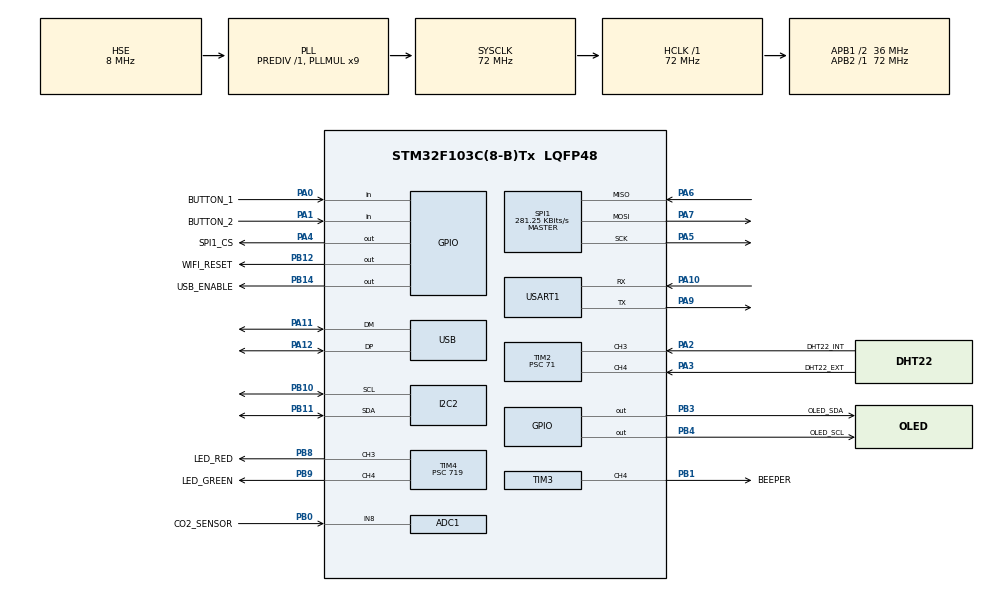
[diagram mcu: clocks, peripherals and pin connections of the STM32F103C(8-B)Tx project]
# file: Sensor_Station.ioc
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ADC1.Channel-5\#ChannelRegularConversion=ADC_CHANNEL_8
ADC1.ContinuousConvMode=DISABLE
ADC1.DataAlign=ADC_DATAALIGN_RIGHT
ADC1.DiscontinuousConvMode=DISABLE
ADC1.EnableAnalogWatchDog=false
ADC1.EnableRegularConversion=ENABLE
ADC1.ExternalTrigConvEdgeChoice=NONE
ADC1.InjNumberOfConversion=0
ADC1.NbrOfConversion=1
ADC1.NbrOfConversionFlag=1
ADC1.Rank-5\#ChannelRegularConversion=1
ADC1.SamplingTime-5\#ChannelRegularConversion=ADC_SAMPLETIME_1CYCLE_5
ADC1.ScanConvMode=ADC_SCAN_DISABLE
ADC1.master=1
Dma.Request0=TIM2_CH3
Dma.Request1=TIM2_CH2/CH4
Dma.TIM2_CH2/CH4.1.Direction=DMA_PERIPH_TO_MEMORY
Dma.TIM2_CH2/CH4.1.Instance=DMA1_Channel7
Dma.TIM2_CH2/CH4.1.MemDataAlignment=DMA_MDATAALIGN_HALFWORD
Dma.TIM2_CH2/CH4.1.MemInc=DMA_MINC_ENABLE
Dma.TIM2_CH2/CH4.1.Mode=DMA_NORMAL
Dma.TIM2_CH2/CH4.1.PeriphDataAlignment=DMA_PDATAALIGN_HALFWORD
Dma.TIM2_CH2/CH4.1.PeriphInc=DMA_PINC_DISABLE
Dma.TIM2_CH2/CH4.1.Priority=DMA_PRIORITY_LOW
Dma.TIM2_CH3.0.Direction=DMA_PERIPH_TO_MEMORY
Dma.TIM2_CH3.0.Instance=DMA1_Channel1
Dma.TIM2_CH3.0.MemDataAlignment=DMA_MDATAALIGN_HALFWORD
Dma.TIM2_CH3.0.MemInc=DMA_MINC_ENABLE
Dma.TIM2_CH3.0.Mode=DMA_NORMAL
Dma.TIM2_CH3.0.PeriphDataAlignment=DMA_PDATAALIGN_HALFWORD
Dma.TIM2_CH3.0.PeriphInc=DMA_PINC_DISABLE
Dma.TIM2_CH3.0.Priority=DMA_PRIORITY_LOW
Mcu.Family=STM32F1
Mcu.Name=STM32F103C(8-B)Tx
Mcu.Package=LQFP48
NVIC.DMA1_Channel1_IRQn=true\:0\:0\:false\:false\:true
NVIC.DMA1_Channel7_IRQn=true\:0\:0\:false\:false\:true
NVIC.PriorityGroup=NVIC_PRIORITYGROUP_4
NVIC.RTC_IRQn=true\:0\:0\:false\:false\:true
NVIC.USART1_IRQn=true\:0\:0\:false\:false\:true
NVIC.USB_LP_CAN1_RX0_IRQn=true\:0\:0\:false\:false\:true
PA0-WKUP.GPIO_Label=BUTTON_1
PA0-WKUP.GPIO_PuPd=GPIO_PULLUP
PA0-WKUP.Signal=GPIO_Input
PA1.GPIO_Label=BUTTON_2
PA1.GPIO_PuPd=GPIO_PULLUP
PA1.Signal=GPIO_Input
PA10.Mode=Asynchronous
PA10.Signal=USART1_RX
PA11.Mode=Device
PA11.Signal=USB_DM
PA12.Mode=Device
PA12.Signal=USB_DP
PA13.Mode=Serial_Wire
PA13.Signal=SYS_JTMS-SWDIO
PA14.Mode=Serial_Wire
PA14.Signal=SYS_JTCK-SWCLK
PA2.GPIO_Label=DHT22_INT
PA2.Signal=S_TIM2_CH3
PA3.GPIO_Label=DHT22_EXT
PA3.Signal=S_TIM2_CH4
PA4.GPIO_Label=SPI1_CS
PA4.Signal=GPIO_Output
PA5.Mode=Full_Duplex_Master
PA5.Signal=SPI1_SCK
PA6.Mode=Full_Duplex_Master
PA6.Signal=SPI1_MISO
PA7.Mode=Full_Duplex_Master
PA7.Signal=SPI1_MOSI
PA9.Mode=Asynchronous
PA9.Signal=USART1_TX
PB0.GPIO_Label=CO2_SENSOR
PB0.Signal=ADCx_IN8
PB1.GPIO_Label=BEEPER
PB1.Signal=S_TIM3_CH4
PB10.Mode=I2C
PB10.Signal=I2C2_SCL
PB11.Mode=I2C
PB11.Signal=I2C2_SDA
PB12.GPIO_Label=WIFI_RESET
PB12.Signal=GPIO_Output
PB14.GPIO_Label=USB_ENABLE
PB14.Signal=GPIO_Output
PB3.GPIO_Label=OLED_SDA
PB3.Signal=GPIO_Output
PB4.GPIO_Label=OLED_SCL
PB4.Signal=GPIO_Output
PB8.GPIO_Label=LED_RED
PB8.Signal=S_TIM4_CH3
PB9.GPIO_Label=LED_GREEN
PB9.Signal=S_TIM4_CH4
PC14-OSC32_IN.Mode=LSE-External-Oscillator
PC14-OSC32_IN.Signal=RCC_OSC32_IN
PC15-OSC32_OUT.Mode=LSE-External-Oscillator
PC15-OSC32_OUT.Signal=RCC_OSC32_OUT
PD0-OSC_IN.Mode=HSE-External-Oscillator
PD0-OSC_IN.Signal=RCC_OSC_IN
PD1-OSC_OUT.Mode=HSE-External-Oscillator
PD1-OSC_OUT.Signal=RCC_OSC_OUT
ProjectManager.HeapSize=0x1000
ProjectManager.StackSize=0x1000
ProjectManager.TargetToolchain=SW4STM32
RCC.ADCPresc=RCC_ADCPCLK2_DIV6
RCC.AHBFreq_Value=72000000
RCC.APB1CLKDivider=RCC_HCLK_DIV2
RCC.APB1Freq_Value=36000000
RCC.APB1TimFreq_Value=72000000
RCC.APB2Freq_Value=72000000
RCC.APB2TimFreq_Value=72000000
RCC.HCLKFreq_Value=72000000
RCC.PLLMUL=RCC_PLL_MUL9
RCC.PLLSourceVirtual=RCC_PLLSOURCE_HSE
RCC.RTCClockSelection=RCC_RTCCLKSOURCE_LSE
RCC.SYSCLKFreq_VALUE=72000000
RCC.SYSCLKSource=RCC_SYSCLKSOURCE_PLLCLK
RCC.USBFreq_Value=48000000
RCC.USBPrescaler=RCC_USBCLKSOURCE_PLL_DIV1_5
RTC.Format=RTC_FORMAT_BIN
RTC.Year=0
SH.ADCx_IN8.0=ADC1_IN8,IN8
SH.S_TIM2_CH3.0=TIM2_CH3,Input_Capture3_from_TI3
SH.S_TIM2_CH4.0=TIM2_CH4,Input_Capture4_from_TI4
SH.S_TIM3_CH4.0=TIM3_CH4,PWM Generation4 CH4
SH.S_TIM4_CH3.0=TIM4_CH3,PWM Generation3 CH3
SH.S_TIM4_CH4.0=TIM4_CH4,PWM Generation4 CH4
SPI1.BaudRatePrescaler=SPI_BAUDRATEPRESCALER_256
SPI1.CalculateBaudRate=281.25 KBits/s
SPI1.Direction=SPI_DIRECTION_2LINES
SPI1.Mode=SPI_MODE_MASTER
SPI1.VirtualType=VM_MASTER
TIM2.Channel-Input_Capture3_from_TI3=TIM_CHANNEL_3
TIM2.Channel-Input_Capture4_from_TI4=TIM_CHANNEL_4
TIM2.Period=0xFFFF
TIM2.Prescaler=71
TIM3.Channel-PWM\ Generation4\ CH4=TIM_CHANNEL_4
TIM3.Period=1000
TIM3.Prescaler=71
TIM3.Pulse-PWM\ Generation4\ CH4=200
TIM4.Channel-PWM\ Generation3\ CH3=TIM_CHANNEL_3
TIM4.Channel-PWM\ Generation4\ CH4=TIM_CHANNEL_4
TIM4.Period=99
TIM4.Prescaler=719
TIM4.TIM_MasterOutputTrigger=TIM_TRGO_RESET
USART1.VirtualMode=VM_ASYNC
USB_DEVICE.CLASS_NAME_FS=MSC
USB_DEVICE.MANUFACTURER_STRING=A.S. Tech
USB_DEVICE.PID_MSC_FS=0x572a
USB_DEVICE.PRODUCT_STRING_MSC_FS=Weather Station
USB_DEVICE.SERIALNUMBER_STRING_MSC_FS=00000000001E
USB_DEVICE.VirtualMode=Msc
USB_DEVICE.VirtualModeFS=Msc_FS
VP_CRC_VS_CRC.Mode=CRC_Activate
VP_FATFS_VS_Generic.Mode=User_defined
VP_RTC_VS_RTC_Activate.Mode=RTC_Enabled
VP_RTC_VS_RTC_Calendar.Mode=RTC_Calendar
VP_TIM2_VS_ClockSourceINT.Mode=Internal
VP_TIM4_VS_ClockSourceINT.Mode=Internal
VP_USB_DEVICE_VS_USB_DEVICE_MSC_FS.Mode=MSC_FS
board=Sensor_Station

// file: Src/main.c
/**
  ******************************************************************************
  * File Name          : main.c
  * Description        : Main program body
  ******************************************************************************
  * This notice applies to any and all portions of this file
  * that are not between comment pairs USER CODE BEGIN and
  * USER CODE END. Other portions of this file, whether
  * inserted by the user or by software development tools
  * are owned by their respective copyright owners.
  *
  * Copyright (c) 2017 STMicroelectronics International N.V.
  * All rights reserved.
  *
  * Redistribution and use in source and binary forms, with or without
  * modification, are permitted, provided that the following conditions are met:
  *
  * 1. Redistribution of source code must retain the above copyright notice,
  *    this list of conditions and the following disclaimer.
  * 2. Redistributions in binary form must reproduce the above copyright notice,
  *    this list of conditions and the following disclaimer in the documentation
  *    and/or other materials provided with the distribution.
  * 3. Neither the name of STMicroelectronics nor the names of other
  *    contributors to this software may be used to endorse or promote products
  *    derived from this software without specific written permission.
  * 4. This software, including modifications and/or derivative works of this
  *    software, must execute solely and exclusively on microcontroller or
  *    microprocessor devices manufactured by or for STMicroelectronics.
  * 5. Redistribution and use of this software other than as permitted under
  *    this license is void and will automatically terminate your rights under
  *    this license.
  *
  * THIS SOFTWARE IS PROVIDED BY STMICROELECTRONICS AND CONTRIBUTORS "AS IS"
  * AND ANY EXPRESS, IMPLIED OR STATUTORY WARRANTIES, INCLUDING, BUT NOT
  * LIMITED TO, THE IMPLIED WARRANTIES OF MERCHANTABILITY, FITNESS FOR A
  * PARTICULAR PURPOSE AND NON-INFRINGEMENT OF THIRD PARTY INTELLECTUAL PROPERTY
  * RIGHTS ARE DISCLAIMED TO THE FULLEST EXTENT PERMITTED BY LAW. IN NO EVENT
  * SHALL STMICROELECTRONICS OR CONTRIBUTORS BE LIABLE FOR ANY DIRECT, INDIRECT,
  * INCIDENTAL, SPECIAL, EXEMPLARY, OR CONSEQUENTIAL DAMAGES (INCLUDING, BUT NOT
  * LIMITED TO, PROCUREMENT OF SUBSTITUTE GOODS OR SERVICES; LOSS OF USE, DATA,
  * OR PROFITS; OR BUSINESS INTERRUPTION) HOWEVER CAUSED AND ON ANY THEORY OF
  * LIABILITY, WHETHER IN CONTRACT, STRICT LIABILITY, OR TORT (INCLUDING
  * NEGLIGENCE OR OTHERWISE) ARISING IN ANY WAY OUT OF THE USE OF THIS SOFTWARE,
  * EVEN IF ADVISED OF THE POSSIBILITY OF SUCH DAMAGE.
  *
  ******************************************************************************
  */
#include "main.h"
#include "stm32f1xx_hal.h"
#include "fatfs.h"
#include "usb_device.h"

/* USER CODE BEGIN Includes */
#include "includes.h"

/* USER CODE END Includes */

ADC_HandleTypeDef hadc1;

CRC_HandleTypeDef hcrc;

I2C_HandleTypeDef hi2c2;

RTC_HandleTypeDef hrtc;

SPI_HandleTypeDef hspi1;

TIM_HandleTypeDef htim2;
TIM_HandleTypeDef htim3;
TIM_HandleTypeDef htim4;
DMA_HandleTypeDef hdma_tim2_ch3;
DMA_HandleTypeDef hdma_tim2_ch2_ch4;

UART_HandleTypeDef huart1;

/* USER CODE BEGIN PV */
/* Private variables ---------------------------------------------------------*/

RTC_TimeTypeDef s_time;
RTC_DateTypeDef s_date;
RTC_TimeTypeDef rtc_time;
RTC_DateTypeDef rtc_date;

static FATFS fs;

/* USER CODE END PV */

void SystemClock_Config(void);
static void MX_GPIO_Init(void);
static void MX_DMA_Init(void);
static void MX_RTC_Init(void);
static void MX_USART1_UART_Init(void);
static void MX_SPI1_Init(void);
static void MX_I2C2_Init(void);
static void MX_ADC1_Init(void);
static void MX_TIM4_Init(void);
static void MX_TIM3_Init(void);
static void MX_TIM2_Init(void);
static void MX_CRC_Init(void);

void HAL_TIM_MspPostInit(TIM_HandleTypeDef *htim);

/* USER CODE BEGIN PFP */
/* Private function prototypes -----------------------------------------------*/

/* USER CODE END PFP */

/* USER CODE BEGIN 0 */

void Pause(void) {
	//HAL_Delay(100);
	//Console_Clear();
	//return;

	if (console_mode) {
		while (!Button(1)) {
			HAL_Delay(100);
		}
		Console_Clear();
	}
}

network_settings_t settings;
network_settings_t settings_new;
/* USER CODE END 0 */

int main(void)
{

  /* USER CODE BEGIN 1 */
	uint8_t res;
	uint8_t sd_card_availible = 0;
	uint8_t fs_availible = 0;
	uint8_t settings_exist = 0;
	uint8_t wifi_connected = 0;
	uint8_t time_synchonized = 0;
	uint8_t settings_file_loaded = 0;
	int file_counter = 0;

  /* USER CODE END 1 */

  /* MCU Configuration----------------------------------------------------------*/

  /* Reset of all peripherals, Initializes the Flash interface and the Systick. */
  HAL_Init();

  /* Configure the system clock */
  SystemClock_Config();

  /* Initialize all configured peripherals */
  MX_GPIO_Init();
  MX_DMA_Init();
  MX_RTC_Init();
  MX_USART1_UART_Init();
  MX_SPI1_Init();
  MX_I2C2_Init();
  MX_ADC1_Init();
  MX_TIM4_Init();
  MX_TIM3_Init();
  MX_TIM2_Init();
  MX_FATFS_Init();
  MX_CRC_Init();
  MX_USB_DEVICE_Init();

  /* USER CODE BEGIN 2 */

  Display_Init();
	Time_Start_Interrupts();

	console_mode = 1;

// FILE OPERATIONS

	res = SD_Init();
	if (!res) {
		printf("SD card OK \n");
		sd_card_availible = 1;
	} else {
		printf("SD card not found \n");
		sd_card_availible = 0;
	}

	if (sd_card_availible) {
		res = f_mount(&fs, USER_Path, 1);
		if (!res) {
			printf("FS mount OK \n");
			fs_availible = 1;
		} else {
			printf("FS error: %d \n", res);
			fs_availible = 1;
		}
	}

	Pause();

	if (fs_availible) {
		res = Settings_Load_from_File(&settings_new);
		if (!res) {
			settings_file_loaded = 1;
			printf("   %s: \n", SETTINGS_FILENAME);
			Settings_Display(&settings_new);
		} else {
			settings_file_loaded = 0;
			printf("\"%s\" error %d \n", SETTINGS_FILENAME, res);
		}
		Pause();
	}

	res = Settings_Load_from_Flash(&settings);
	if (!res) {
		printf("   Internal flash: \n");
		Settings_Display(&settings);
	} else {
		printf("Flash memory error \n");
	}

	Pause();

	if (settings_file_loaded) {
		res = Settings_Synchronize(&settings, &settings_new);
		if (res) {
			Settings_Save_to_Flash(&settings);
			printf("Settings updated \n");
		} else {
			printf("Nothing to update \n");
		}
		Pause();
	}

	printf("Settings loaded \n");

	Pause();

// WIFI CONNECTION

	settings_exist = 1;

	if (settings_exist) {
		WiFi_Init();
		printf("Connecting to WiFi... \n");
		res = WiFi_Connect_to_AP(settings.ssid, settings.password);
		if (!res) {
			printf("Successful \n");
			wifi_connected = 1;
		} else {
			printf("Error \n");
		}

		if (wifi_connected) {
			printf("Synchronizing time... \n");
			res = WiFi_Synchronize_Time(settings.server, &s_time, &s_date);
			if (!res) {
				time_synchonized = 1;
				HAL_RTC_SetDate(&hrtc, &s_date, RTC_FORMAT_BIN);
				HAL_RTC_SetTime(&hrtc, &s_time, RTC_FORMAT_BIN);
				HAL_RTCEx_BKUPWrite(&hrtc,RTC_BKP_DR1,0x32F2);
				printf("Successful \n");
			} else {
				time_synchonized = 0;
				printf("Error \n");
			}
		}
	}

	console_mode = 1;
	printf("Time: %d \n", time_synchonized);

	//file_counter = Files_Find_First_Availible();
	Pause();
	HAL_GPIO_WritePin(USB_ENABLE_GPIO_Port, USB_ENABLE_Pin, GPIO_PIN_SET);
	printf("USB mass storage... \n");

	Pause();
	printf("Reset... \n");
	HAL_Delay(1000);
	NVIC_SystemReset();

	while (1) {};

	File_Start();
	File_Write_Line("123\n\r456\n\r");
	File_Stop();

  while(1) {
  	Time_Poll_Interrupts();
  	HAL_RTC_GetTime( &hrtc, &rtc_time, RTC_FORMAT_BIN );
  	HAL_RTC_GetDate( &hrtc, &rtc_date, RTC_FORMAT_BIN );

  	printf("%02d:%02d:%02d ", rtc_time.Hours, rtc_time.Minutes, rtc_time.Seconds);
  	printf("%d/%d/%d \n", rtc_date.Date, rtc_date.Month, rtc_date.Year);
  }

	res = f_mount(&fs, USER_Path, 0);
	if (!res) {
		printf("FS unmount OK \n");
	} else {
		printf("Cannot unmount FS \n");
	}

  //HAL_GPIO_WritePin(USB_ENABLE_GPIO_Port, USB_ENABLE_Pin, GPIO_PIN_SET);

  //printf("Mount: %d\n", f_mount(&fs, USER_Path, 1) );

//
//  uint8_t testBuffer[16] = "Successful!!!\r\n";
//  UINT testBytes;
//	FILINFO fno;
//
//	uint8_t filename[] = "log_0.txt";
//
//	for ( int i = 0; i < 10; i++ ) {
//		filename[4] = '0' + i;
//		uint8_t fr = f_stat((const char*)filename, &fno);
//		//printf("Status(%d): %d\r\n", i, fr );
//		if ( fr == FR_OK )
//			continue;
//
//		sprintf(str, "Open: %d\r\n", f_open(&testFile, (const char*)filename, FA_WRITE | FA_CREATE_NEW ) );
//	  Display_Text(str, 0, 32);
//		sprintf(str, "Write: %d\r\n", f_write(&testFile, testBuffer, 16, &testBytes) );
//	  Display_Text(str, 0, 16);
//		sprintf(str, "Close: %d\r\n", f_close(&testFile) );
//	  Display_Text(str, 0, 0);
//		break;
//	}
//
//
//	Display_Refresh();
//	sprintf(str, "Mount: %d\r\n", f_mount(&fs, USER_Path, 0) );

	/*
	while(1) {
  	if (!HAL_GPIO_ReadPin(BUTTON_1_GPIO_Port, BUTTON_1_Pin)) {
  		NVIC_SystemReset();
  	}
  }*/

  /* USER CODE END 2 */

  /* Infinite loop */
  /* USER CODE BEGIN WHILE */

//	HAL_GPIO_WritePin(USB_ENABLE_GPIO_Port, USB_ENABLE_Pin, GPIO_PIN_SET);

  //while(1) {};

  int temp[2], hum[2], emf, press;
  int cnt = 0;

  while (1)
  {

  	DHT22_Conversion(0, &temp[0], &hum[0]);
  	printf("%d.%1d~C  %d%% \n", temp[0]/10, temp[0]%10, hum[0]/10  );

  	//DHT22_Conversion(1, &temp[1], &hum[1]);
  	//MS5611_Conversion(&press);
  	//TGS4161_Conversion(&emf);

	  HAL_Delay(2500);

  /* USER CODE END WHILE */

  }

}

/** System Clock Configuration
*/
void SystemClock_Config(void)
{

  RCC_OscInitTypeDef RCC_OscInitStruct;
  RCC_ClkInitTypeDef RCC_ClkInitStruct;
  RCC_PeriphCLKInitTypeDef PeriphClkInit;

    /**Initializes the CPU, AHB and APB busses clocks
    */
  RCC_OscInitStruct.OscillatorType = RCC_OSCILLATORTYPE_HSE|RCC_OSCILLATORTYPE_LSE;
  RCC_OscInitStruct.HSEState = RCC_HSE_ON;
  RCC_OscInitStruct.HSEPredivValue = RCC_HSE_PREDIV_DIV1;
  RCC_OscInitStruct.LSEState = RCC_LSE_ON;
  RCC_OscInitStruct.HSIState = RCC_HSI_ON;
  RCC_OscInitStruct.PLL.PLLState = RCC_PLL_ON;
  RCC_OscInitStruct.PLL.PLLSource = RCC_PLLSOURCE_HSE;
  RCC_OscInitStruct.PLL.PLLMUL = RCC_PLL_MUL9;
  if (HAL_RCC_OscConfig(&RCC_OscInitStruct) != HAL_OK)
  {
    _Error_Handler(__FILE__, __LINE__);
  }

    /**Initializes the CPU, AHB and APB busses clocks
    */
  RCC_ClkInitStruct.ClockType = RCC_CLOCKTYPE_HCLK|RCC_CLOCKTYPE_SYSCLK
                              |RCC_CLOCKTYPE_PCLK1|RCC_CLOCKTYPE_PCLK2;
  RCC_ClkInitStruct.SYSCLKSource = RCC_SYSCLKSOURCE_PLLCLK;
  RCC_ClkInitStruct.AHBCLKDivider = RCC_SYSCLK_DIV1;
  RCC_ClkInitStruct.APB1CLKDivider = RCC_HCLK_DIV2;
  RCC_ClkInitStruct.APB2CLKDivider = RCC_HCLK_DIV1;

  if (HAL_RCC_ClockConfig(&RCC_ClkInitStruct, FLASH_LATENCY_2) != HAL_OK)
  {
    _Error_Handler(__FILE__, __LINE__);
  }

  PeriphClkInit.PeriphClockSelection = RCC_PERIPHCLK_RTC|RCC_PERIPHCLK_ADC
                              |RCC_PERIPHCLK_USB;
  PeriphClkInit.RTCClockSelection = RCC_RTCCLKSOURCE_LSE;
  PeriphClkInit.AdcClockSelection = RCC_ADCPCLK2_DIV6;
  PeriphClkInit.UsbClockSelection = RCC_USBCLKSOURCE_PLL_DIV1_5;
  if (HAL_RCCEx_PeriphCLKConfig(&PeriphClkInit) != HAL_OK)
  {
    _Error_Handler(__FILE__, __LINE__);
  }

    /**Configure the Systick interrupt time
    */
  HAL_SYSTICK_Config(HAL_RCC_GetHCLKFreq()/1000);

    /**Configure the Systick
    */
  HAL_SYSTICK_CLKSourceConfig(SYSTICK_CLKSOURCE_HCLK);

  /* SysTick_IRQn interrupt configuration */
  HAL_NVIC_SetPriority(SysTick_IRQn, 0, 0);
}

/* ADC1 init function */
static void MX_ADC1_Init(void)
{

  ADC_ChannelConfTypeDef sConfig;

    /**Common config
    */
  hadc1.Instance = ADC1;
  hadc1.Init.ScanConvMode = ADC_SCAN_DISABLE;
  hadc1.Init.ContinuousConvMode = DISABLE;
  hadc1.Init.DiscontinuousConvMode = DISABLE;
  hadc1.Init.ExternalTrigConv = ADC_SOFTWARE_START;
  hadc1.Init.DataAlign = ADC_DATAALIGN_RIGHT;
  hadc1.Init.NbrOfConversion = 1;
  if (HAL_ADC_Init(&hadc1) != HAL_OK)
  {
    _Error_Handler(__FILE__, __LINE__);
  }

    /**Configure Regular Channel
    */
  sConfig.Channel = ADC_CHANNEL_8;
  sConfig.Rank = 1;
  sConfig.SamplingTime = ADC_SAMPLETIME_1CYCLE_5;
  if (HAL_ADC_ConfigChannel(&hadc1, &sConfig) != HAL_OK)
  {
    _Error_Handler(__FILE__, __LINE__);
  }

}

/* CRC init function */
static void MX_CRC_Init(void)
{

  hcrc.Instance = CRC;
  if (HAL_CRC_Init(&hcrc) != HAL_OK)
  {
    _Error_Handler(__FILE__, __LINE__);
  }

}

/* I2C2 init function */
static void MX_I2C2_Init(void)
{

  hi2c2.Instance = I2C2;
  hi2c2.Init.ClockSpeed = 100000;
  hi2c2.Init.DutyCycle = I2C_DUTYCYCLE_2;
  hi2c2.Init.OwnAddress1 = 0;
  hi2c2.Init.AddressingMode = I2C_ADDRESSINGMODE_7BIT;
  hi2c2.Init.DualAddressMode = I2C_DUALADDRESS_DISABLE;
  hi2c2.Init.OwnAddress2 = 0;
  hi2c2.Init.GeneralCallMode = I2C_GENERALCALL_DISABLE;
  hi2c2.Init.NoStretchMode = I2C_NOSTRETCH_DISABLE;
  if (HAL_I2C_Init(&hi2c2) != HAL_OK)
  {
    _Error_Handler(__FILE__, __LINE__);
  }

}

/* RTC init function */
static void MX_RTC_Init(void)
{

  RTC_TimeTypeDef sTime;
  RTC_DateTypeDef DateToUpdate;

    /**Initialize RTC Only
    */
  hrtc.Instance = RTC;
  hrtc.Init.AsynchPrediv = RTC_AUTO_1_SECOND;
  hrtc.Init.OutPut = RTC_OUTPUTSOURCE_ALARM;
  if (HAL_RTC_Init(&hrtc) != HAL_OK)
  {
    _Error_Handler(__FILE__, __LINE__);
  }

    /**Initialize RTC and set the Time and Date
    */
  if(HAL_RTCEx_BKUPRead(&hrtc, RTC_BKP_DR1) != 0x32F2){
  sTime.Hours = 1;
  sTime.Minutes = 0;
  sTime.Seconds = 0;

  if (HAL_RTC_SetTime(&hrtc, &sTime, RTC_FORMAT_BIN) != HAL_OK)
  {
    _Error_Handler(__FILE__, __LINE__);
  }

  DateToUpdate.WeekDay = RTC_WEEKDAY_MONDAY;
  DateToUpdate.Month = RTC_MONTH_JANUARY;
  DateToUpdate.Date = 1;
  DateToUpdate.Year = 0;

  if (HAL_RTC_SetDate(&hrtc, &DateToUpdate, RTC_FORMAT_BIN) != HAL_OK)
  {
    _Error_Handler(__FILE__, __LINE__);
  }

    HAL_RTCEx_BKUPWrite(&hrtc,RTC_BKP_DR1,0x32F2);
  }

}

/* SPI1 init function */
static void MX_SPI1_Init(void)
{

  hspi1.Instance = SPI1;
  hspi1.Init.Mode = SPI_MODE_MASTER;
  hspi1.Init.Direction = SPI_DIRECTION_2LINES;
  hspi1.Init.DataSize = SPI_DATASIZE_8BIT;
  hspi1.Init.CLKPolarity = SPI_POLARITY_LOW;
  hspi1.Init.CLKPhase = SPI_PHASE_1EDGE;
  hspi1.Init.NSS = SPI_NSS_SOFT;
  hspi1.Init.BaudRatePrescaler = SPI_BAUDRATEPRESCALER_256;
  hspi1.Init.FirstBit = SPI_FIRSTBIT_MSB;
  hspi1.Init.TIMode = SPI_TIMODE_DISABLE;
  hspi1.Init.CRCCalculation = SPI_CRCCALCULATION_DISABLE;
  hspi1.Init.CRCPolynomial = 10;
  if (HAL_SPI_Init(&hspi1) != HAL_OK)
  {
    _Error_Handler(__FILE__, __LINE__);
  }

}

/* TIM2 init function */
static void MX_TIM2_Init(void)
{

  TIM_ClockConfigTypeDef sClockSourceConfig;
  TIM_MasterConfigTypeDef sMasterConfig;
  TIM_IC_InitTypeDef sConfigIC;

  htim2.Instance = TIM2;
  htim2.Init.Prescaler = 71;
  htim2.Init.CounterMode = TIM_COUNTERMODE_UP;
  htim2.Init.Period = 0xFFFF;
  htim2.Init.ClockDivision = TIM_CLOCKDIVISION_DIV1;
  htim2.Init.AutoReloadPreload = TIM_AUTORELOAD_PRELOAD_DISABLE;
  if (HAL_TIM_Base_Init(&htim2) != HAL_OK)
  {
    _Error_Handler(__FILE__, __LINE__);
  }

  sClockSourceConfig.ClockSource = TIM_CLOCKSOURCE_INTERNAL;
  if (HAL_TIM_ConfigClockSource(&htim2, &sClockSourceConfig) != HAL_OK)
  {
    _Error_Handler(__FILE__, __LINE__);
  }

  if (HAL_TIM_IC_Init(&htim2) != HAL_OK)
  {
    _Error_Handler(__FILE__, __LINE__);
  }

  sMasterConfig.MasterOutputTrigger = TIM_TRGO_RESET;
  sMasterConfig.MasterSlaveMode = TIM_MASTERSLAVEMODE_DISABLE;
  if (HAL_TIMEx_MasterConfigSynchronization(&htim2, &sMasterConfig) != HAL_OK)
  {
    _Error_Handler(__FILE__, __LINE__);
  }

  sConfigIC.ICPolarity = TIM_INPUTCHANNELPOLARITY_RISING;
  sConfigIC.ICSelection = TIM_ICSELECTION_DIRECTTI;
  sConfigIC.ICPrescaler = TIM_ICPSC_DIV1;
  sConfigIC.ICFilter = 0;
  if (HAL_TIM_IC_ConfigChannel(&htim2, &sConfigIC, TIM_CHANNEL_3) != HAL_OK)
  {
    _Error_Handler(__FILE__, __LINE__);
  }

  if (HAL_TIM_IC_ConfigChannel(&htim2, &sConfigIC, TIM_CHANNEL_4) != HAL_OK)
  {
    _Error_Handler(__FILE__, __LINE__);
  }

}

/* TIM3 init function */
static void MX_TIM3_Init(void)
{

  TIM_MasterConfigTypeDef sMasterConfig;
  TIM_OC_InitTypeDef sConfigOC;

  htim3.Instance = TIM3;
  htim3.Init.Prescaler = 71;
  htim3.Init.CounterMode = TIM_COUNTERMODE_UP;
  htim3.Init.Period = 1000;
  htim3.Init.ClockDivision = TIM_CLOCKDIVISION_DIV1;
  htim3.Init.AutoReloadPreload = TIM_AUTORELOAD_PRELOAD_DISABLE;
  if (HAL_TIM_PWM_Init(&htim3) != HAL_OK)
  {
    _Error_Handler(__FILE__, __LINE__);
  }

  sMasterConfig.MasterOutputTrigger = TIM_TRGO_RESET;
  sMasterConfig.MasterSlaveMode = TIM_MASTERSLAVEMODE_DISABLE;
  if (HAL_TIMEx_MasterConfigSynchronization(&htim3, &sMasterConfig) != HAL_OK)
  {
    _Error_Handler(__FILE__, __LINE__);
  }

  sConfigOC.OCMode = TIM_OCMODE_PWM1;
  sConfigOC.Pulse = 200;
  sConfigOC.OCPolarity = TIM_OCPOLARITY_HIGH;
  sConfigOC.OCFastMode = TIM_OCFAST_DISABLE;
  if (HAL_TIM_PWM_ConfigChannel(&htim3, &sConfigOC, TIM_CHANNEL_4) != HAL_OK)
  {
    _Error_Handler(__FILE__, __LINE__);
  }

  HAL_TIM_MspPostInit(&htim3);

}

/* TIM4 init function */
static void MX_TIM4_Init(void)
{

  TIM_ClockConfigTypeDef sClockSourceConfig;
  TIM_MasterConfigTypeDef sMasterConfig;
  TIM_OC_InitTypeDef sConfigOC;

  htim4.Instance = TIM4;
  htim4.Init.Prescaler = 719;
  htim4.Init.CounterMode = TIM_COUNTERMODE_UP;
  htim4.Init.Period = 99;
  htim4.Init.ClockDivision = TIM_CLOCKDIVISION_DIV1;
  htim4.Init.AutoReloadPreload = TIM_AUTORELOAD_PRELOAD_DISABLE;
  if (HAL_TIM_Base_Init(&htim4) != HAL_OK)
  {
    _Error_Handler(__FILE__, __LINE__);
  }

  sClockSourceConfig.ClockSource = TIM_CLOCKSOURCE_INTERNAL;
  if (HAL_TIM_ConfigClockSource(&htim4, &sClockSourceConfig) != HAL_OK)
  {
    _Error_Handler(__FILE__, __LINE__);
  }

  if (HAL_TIM_PWM_Init(&htim4) != HAL_OK)
  {
    _Error_Handler(__FILE__, __LINE__);
  }

  sMasterConfig.MasterOutputTrigger = TIM_TRGO_RESET;
  sMasterConfig.MasterSlaveMode = TIM_MASTERSLAVEMODE_DISABLE;
  if (HAL_TIMEx_MasterConfigSynchronization(&htim4, &sMasterConfig) != HAL_OK)
  {
    _Error_Handler(__FILE__, __LINE__);
  }

  sConfigOC.OCMode = TIM_OCMODE_PWM1;
  sConfigOC.Pulse = 0;
  sConfigOC.OCPolarity = TIM_OCPOLARITY_HIGH;
  sConfigOC.OCFastMode = TIM_OCFAST_DISABLE;
  if (HAL_TIM_PWM_ConfigChannel(&htim4, &sConfigOC, TIM_CHANNEL_3) != HAL_OK)
  {
    _Error_Handler(__FILE__, __LINE__);
  }

  if (HAL_TIM_PWM_ConfigChannel(&htim4, &sConfigOC, TIM_CHANNEL_4) != HAL_OK)
  {
    _Error_Handler(__FILE__, __LINE__);
  }

  HAL_TIM_MspPostInit(&htim4);

}

/* USART1 init function */
static void MX_USART1_UART_Init(void)
{

  huart1.Instance = USART1;
  huart1.Init.BaudRate = 115200;
  huart1.Init.WordLength = UART_WORDLENGTH_8B;
  huart1.Init.StopBits = UART_STOPBITS_1;
  huart1.Init.Parity = UART_PARITY_NONE;
  huart1.Init.Mode = UART_MODE_TX_RX;
  huart1.Init.HwFlowCtl = UART_HWCONTROL_NONE;
  huart1.Init.OverSampling = UART_OVERSAMPLING_16;
  if (HAL_UART_Init(&huart1) != HAL_OK)
  {
    _Error_Handler(__FILE__, __LINE__);
  }

}

static void MX_DMA_Init(void)
{
  /* DMA controller clock enable */
  __HAL_RCC_DMA1_CLK_ENABLE();

  /* DMA interrupt init */
  /* DMA1_Channel1_IRQn interrupt configuration */
  HAL_NVIC_SetPriority(DMA1_Channel1_IRQn, 0, 0);
  HAL_NVIC_EnableIRQ(DMA1_Channel1_IRQn);
  /* DMA1_Channel7_IRQn interrupt configuration */
  HAL_NVIC_SetPriority(DMA1_Channel7_IRQn, 0, 0);
  HAL_NVIC_EnableIRQ(DMA1_Channel7_IRQn);

}

/** Configure pins as
        * Analog
        * Input
        * Output
        * EVENT_OUT
        * EXTI
*/
static void MX_GPIO_Init(void)
{

  GPIO_InitTypeDef GPIO_InitStruct;

  /* GPIO Ports Clock Enable */
  __HAL_RCC_GPIOC_CLK_ENABLE();
  __HAL_RCC_GPIOD_CLK_ENABLE();
  __HAL_RCC_GPIOA_CLK_ENABLE();
  __HAL_RCC_GPIOB_CLK_ENABLE();

  /*Configure GPIO pin Output Level */
  HAL_GPIO_WritePin(SPI1_CS_GPIO_Port, SPI1_CS_Pin, GPIO_PIN_RESET);

  /*Configure GPIO pin Output Level */
  HAL_GPIO_WritePin(GPIOB, WIFI_RESET_Pin|USB_ENABLE_Pin|OLED_SDA_Pin|OLED_SCL_Pin, GPIO_PIN_RESET);

  /*Configure GPIO pins : BUTTON_1_Pin BUTTON_2_Pin */
  GPIO_InitStruct.Pin = BUTTON_1_Pin|BUTTON_2_Pin;
  GPIO_InitStruct.Mode = GPIO_MODE_INPUT;
  GPIO_InitStruct.Pull = GPIO_PULLUP;
  HAL_GPIO_Init(GPIOA, &GPIO_InitStruct);

  /*Configure GPIO pin : SPI1_CS_Pin */
  GPIO_InitStruct.Pin = SPI1_CS_Pin;
  GPIO_InitStruct.Mode = GPIO_MODE_OUTPUT_PP;
  GPIO_InitStruct.Speed = GPIO_SPEED_FREQ_LOW;
  HAL_GPIO_Init(SPI1_CS_GPIO_Port, &GPIO_InitStruct);

  /*Configure GPIO pins : WIFI_RESET_Pin USB_ENABLE_Pin OLED_SDA_Pin OLED_SCL_Pin */
  GPIO_InitStruct.Pin = WIFI_RESET_Pin|USB_ENABLE_Pin|OLED_SDA_Pin|OLED_SCL_Pin;
  GPIO_InitStruct.Mode = GPIO_MODE_OUTPUT_PP;
  GPIO_InitStruct.Speed = GPIO_SPEED_FREQ_LOW;
  HAL_GPIO_Init(GPIOB, &GPIO_InitStruct);

}

void HAL_TIM_PeriodElapsedCallback(TIM_HandleTypeDef *htim)
{
  if (htim->Instance == TIM1) {
    HAL_IncTick();
  }
}

void _Error_Handler(char * file, int line)
{
  while(1)
  {
  }
}

/************************ (C) COPYRIGHT STMicroelectronics *****END OF FILE****/
